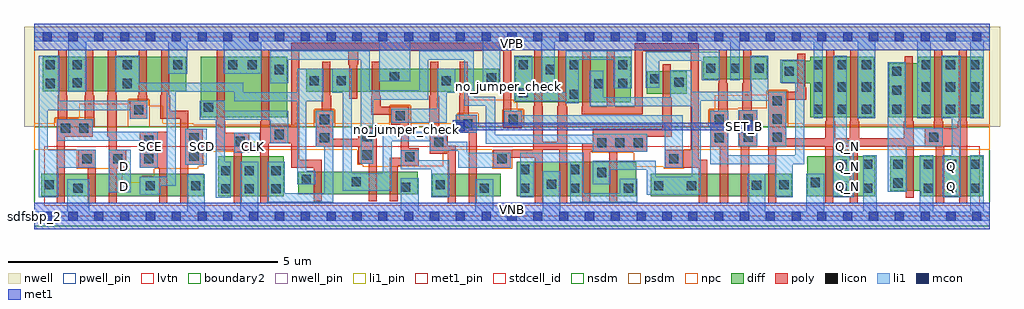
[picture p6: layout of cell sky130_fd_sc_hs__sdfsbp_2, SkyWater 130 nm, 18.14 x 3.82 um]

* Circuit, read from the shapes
.subckt sky130_fd_sc_hs__sdfsbp_2 CLK D Q Q_N SCD SCE SET_B VGND VNB VPB VPWR
XM1 VGND SCE n1 VNB sky130_fd_pr__nfet_01v8_lvt w=0.42 l=0.15
XM2 n2 n1 VGND VNB sky130_fd_pr__nfet_01v8_lvt w=0.42 l=0.15
XM3 n3 D n2 VNB sky130_fd_pr__nfet_01v8_lvt w=0.42 l=0.15
XM4 n4 SCE n3 VNB sky130_fd_pr__nfet_01v8_lvt w=0.42 l=0.15
XM5 VGND SCD n4 VNB sky130_fd_pr__nfet_01v8_lvt w=0.42 l=0.15
XM6 VGND CLK n5 VNB sky130_fd_pr__nfet_01v8_lvt w=0.74 l=0.15
XM7 n6 n5 VGND VNB sky130_fd_pr__nfet_01v8_lvt w=0.74 l=0.15
XM8 n7 n5 n3 VNB sky130_fd_pr__nfet_01v8_lvt w=0.42 l=0.15
XM9 n8 n6 n7 VNB sky130_fd_pr__nfet_01v8_lvt w=0.42 l=0.15
XM10 VGND n9 n8 VNB sky130_fd_pr__nfet_01v8_lvt w=0.42 l=0.15
XM11 n10 n7 n9 VNB sky130_fd_pr__nfet_01v8_lvt w=0.42 l=0.15
XM12 VGND SET_B n10 VNB sky130_fd_pr__nfet_01v8_lvt w=0.42 l=0.15
XM13 VGND n7 n11 VNB sky130_fd_pr__nfet_01v8_lvt w=0.64 l=0.15 m=2
XM14 n12 n6 n11 VNB sky130_fd_pr__nfet_01v8_lvt w=0.64 l=0.15 m=2
XM15 n13 n5 n12 VNB sky130_fd_pr__nfet_01v8_lvt w=0.42 l=0.15
XM16 n14 n15 n13 VNB sky130_fd_pr__nfet_01v8_lvt w=0.42 l=0.15
XM17 VGND SET_B n14 VNB sky130_fd_pr__nfet_01v8_lvt w=0.42 l=0.15
XM18 n15 n12 VGND VNB sky130_fd_pr__nfet_01v8_lvt w=0.42 l=0.15
XM19 Q_N n12 VGND VNB sky130_fd_pr__nfet_01v8_lvt w=0.74 l=0.15 m=2
XM20 VGND n12 n16 VNB sky130_fd_pr__nfet_01v8_lvt w=0.64 l=0.15
XM21 Q n16 VGND VNB sky130_fd_pr__nfet_01v8_lvt w=0.74 l=0.15 m=2
XM22 VPWR SCE n1 VPB sky130_fd_pr__pfet_01v8 w=0.64 l=0.15
XM23 n17 SCE VPWR VPB sky130_fd_pr__pfet_01v8 w=0.64 l=0.15
XM24 n3 D n17 VPB sky130_fd_pr__pfet_01v8 w=0.64 l=0.15
XM25 n18 n1 n3 VPB sky130_fd_pr__pfet_01v8 w=0.64 l=0.15
XM26 VPWR SCD n18 VPB sky130_fd_pr__pfet_01v8 w=0.64 l=0.15
XM27 VPWR CLK n5 VPB sky130_fd_pr__pfet_01v8 w=1.12 l=0.15
XM28 n6 n5 VPWR VPB sky130_fd_pr__pfet_01v8 w=1.12 l=0.15
XM29 n7 n6 n3 VPB sky130_fd_pr__pfet_01v8 w=0.42 l=0.15
XM30 n19 n5 n7 VPB sky130_fd_pr__pfet_01v8 w=0.42 l=0.15
XM31 VPWR n9 n19 VPB sky130_fd_pr__pfet_01v8 w=0.42 l=0.15
XM32 n9 n7 VPWR VPB sky130_fd_pr__pfet_01v8 w=0.42 l=0.15
XM33 VPWR SET_B n9 VPB sky130_fd_pr__pfet_01v8 w=0.42 l=0.15
XM34 VPWR n7 n20 VPB sky130_fd_pr__pfet_01v8 w=0.84 l=0.15 m=2
XM35 n12 n5 n20 VPB sky130_fd_pr__pfet_01v8 w=0.84 l=0.15 m=2
XM36 n12 n6 n21 VPB sky130_fd_pr__pfet_01v8 w=0.42 l=0.15
XM37 VPWR n15 n21 VPB sky130_fd_pr__pfet_01v8 w=0.42 l=0.15
XM38 n12 SET_B VPWR VPB sky130_fd_pr__pfet_01v8 w=0.42 l=0.15
XM39 VPWR n12 n15 VPB sky130_fd_pr__pfet_01v8 w=0.42 l=0.15
XM40 Q_N n12 VPWR VPB sky130_fd_pr__pfet_01v8 w=1.12 l=0.15 m=2
XM41 VPWR n12 n16 VPB sky130_fd_pr__pfet_01v8 w=1 l=0.15
XM42 Q n16 VPWR VPB sky130_fd_pr__pfet_01v8 w=1.12 l=0.15 m=2
.ends

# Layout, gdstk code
import gdstk
lib = gdstk.Library(unit=1e-6, precision=1e-09)
def R(c, l, rs):  # rectangles x0, y0, x1, y1
    for r in rs: c.add(gdstk.rectangle(r[:2], r[2:], *l))
def A(c, l, x, y, w, h, nx, ny, dx, dy):  # array of equal rectangles
    R(c, l, [(x+i*dx, y+j*dy, x+i*dx+w, y+j*dy+h) for i in range(nx) for j in range(ny)])
def P(c, l, *ps):  # polygons
    for p in ps: c.add(gdstk.Polygon(p, *l))
nwell_pin = (64, 16)
nwell = (64, 20)
diff = (65, 20)
poly = (66, 20)
licon = (66, 44)
li1_pin = (67, 16)
li1 = (67, 20)
mcon = (67, 44)
met1_pin = (68, 16)
met1 = (68, 20)
stdcell_id = (81, 4)
nsdm = (93, 44)
psdm = (94, 20)
npc = (95, 20)
pwell_pin = (122, 16)
lvtn = (125, 44)
boundary2 = (236, 0)

sky130_fd_sc_hs__sdfsbp_ = lib.new_cell('sky130_fd_sc_hs__sdfsbp_2')
R(sky130_fd_sc_hs__sdfsbp_, nwell_pin, [(0,3.085,17.76,3.33)])
R(sky130_fd_sc_hs__sdfsbp_, nwell, [(-0.19,1.66,17.95,3.52)])
R(sky130_fd_sc_hs__sdfsbp_, diff, [(0.135,0.37,3.15,0.79), (3.42,0.37,4.64,1.11), (7.4,0.37,8.675,0.79), (8.97,0.37,11.19,1.01), (11.46,0.37,14.08,0.79), (14.37,0.37,15.635,1.11), (4.91,0.405,7.13,0.825), (3.095,1.84,4.7,2.96), (8.945,2.12,11.085,2.96), (11.385,2.275,12.13,2.695), (5.06,2.315,8.645,2.735), (0.155,2.32,2.825,2.96), (12.43,2.54,13.62,2.96)])
P(sky130_fd_sc_hs__sdfsbp_, diff, [(15.615,2.96),(14.425,2.96),(14.425,2.89),(13.89,2.89),(13.89,2.47),(14.425,2.47),(14.425,1.84),(15.615,1.84)],
  [(17.625,2.96),(16.435,2.96),(16.435,2.84),(15.885,2.84),(15.885,1.84),(17.625,1.84)],
  [(17.625,1.11),(15.91,1.11),(15.91,0.47),(16.475,0.47),(16.475,0.37),(17.625,0.37)])
P(sky130_fd_sc_hs__sdfsbp_, poly, [(17.345,1.765),(17.33,1.765),(17.33,3.09),(17.18,3.09),(17.18,1.765),(17.165,1.765),(17.165,1.63),(16.895,1.63),(16.895,1.765),(16.88,1.765),(16.88,3.09),(16.73,3.09),(16.73,1.765),(16.715,1.765),(16.715,1.63),(16.555,1.63),(16.555,1.3),(16.76,1.3),(16.76,0.24),(16.91,0.24),(16.91,1.3),(17.19,1.3),(17.19,0.24),(17.34,0.24),(17.34,1.45),(17.345,1.45)],
  [(16.345,1.765),(16.33,1.765),(16.33,2.97),(16.18,2.97),(16.18,1.765),(16.165,1.765),(16.165,1.45),(15.335,1.45),(15.335,1.765),(15.32,1.765),(15.32,3.09),(15.17,3.09),(15.17,1.765),(15.155,1.765),(15.155,1.45),(14.885,1.45),(14.885,1.765),(14.87,1.765),(14.87,3.09),(14.72,3.09),(14.72,1.765),(14.705,1.765),(14.705,1.45),(13.975,1.45),(13.975,2.16),(14.35,2.16),(14.35,2.395),(14.335,2.395),(14.335,3.02),(14.185,3.02),(14.185,2.395),(14.17,2.395),(14.17,2.31),(13.645,2.31),(13.645,0.24),(13.795,0.24),(13.795,1.3),(14.705,1.3),(14.705,0.24),(14.855,0.24),(14.855,1.3),(15.155,1.3),(15.155,0.24),(15.305,0.24),(15.305,1.3),(16.195,1.3),(16.195,0.34),(16.345,0.34)],
  [(13.435,1.97),(13.34,1.97),(13.34,2.465),(13.325,2.465),(13.325,3.09),(13.175,3.09),(13.175,2.465),(13.16,2.465),(13.16,1.97),(13.105,1.97),(13.105,1.3),(13.135,1.3),(13.135,0.24),(13.285,0.24),(13.285,1.3),(13.435,1.3)],
  [(12.895,1.96),(12.89,1.96),(12.89,2.465),(12.875,2.465),(12.875,3.09),(12.725,3.09),(12.725,2.465),(12.71,2.465),(12.71,1.96),(12.565,1.96),(12.565,1.29),(12.745,1.29),(12.745,0.24),(12.895,0.24)],
  [(12.505,1.05),(12.355,1.05),(12.355,3.215),(11.16,3.215),(11.16,2.045),(10.79,2.045),(10.79,3.09),(10.64,3.09),(10.64,2.045),(10.34,2.045),(10.34,3.09),(10.19,3.09),(10.19,2.045),(10.175,2.045),(10.175,1.895),(11.31,1.895),(11.31,3.065),(12.205,3.065),(12.205,1.23),(11.72,1.23),(11.72,0.9),(12.355,0.9),(12.355,0.24),(12.505,0.24)],
  [(11.85,2.2),(11.835,2.2),(11.835,2.825),(11.685,2.825),(11.685,2.2),(11.67,2.2),(11.67,1.62),(10.38,1.62),(10.38,1.35),(10.185,1.35),(10.185,0.24),(10.335,0.24),(10.335,1.2),(10.685,1.2),(10.685,0.24),(10.835,0.24),(10.835,1.2),(11.39,1.2),(11.39,1.47),(11.85,1.47)],
  [(9.905,2.045),(9.89,2.045),(9.89,3.09),(9.74,3.09),(9.74,2.045),(9.725,2.045),(9.725,1.385),(9.455,1.385),(9.455,2.045),(9.44,2.045),(9.44,3.09),(9.29,3.09),(9.29,2.045),(9.275,2.045),(9.275,1.235),(8.53,1.235),(8.53,0.9),(8.86,0.9),(8.86,1.085),(9.305,1.085),(9.305,0.24),(9.455,0.24),(9.455,1.235),(9.755,1.235),(9.755,0.24),(9.905,0.24)],
  [(9.065,1.96),(8.87,1.96),(8.87,3.225),(4.775,3.225),(4.775,1.68),(4.385,1.68),(4.385,1.765),(4.37,1.765),(4.37,3.09),(4.22,3.09),(4.22,1.765),(4.205,1.765),(4.205,0.24),(4.355,0.24),(4.355,1.35),(4.775,1.35),(4.775,0.9),(5.195,0.9),(5.195,0.275),(5.345,0.275),(5.345,1.05),(4.925,1.05),(4.925,3.075),(5.84,3.075),(5.84,2.81),(5.855,2.81),(5.855,2.185),(6.005,2.185),(6.005,2.81),(6.02,2.81),(6.02,3.075),(8.72,3.075),(8.72,1.63),(9.065,1.63)],
  [(8.225,1.88),(8.075,1.88),(8.075,2.24),(8.06,2.24),(8.06,2.865),(7.91,2.865),(7.91,2.24),(7.895,2.24),(7.895,1.55),(8.075,1.55),(8.075,0.24),(8.225,0.24)],
  [(7.835,1.31),(7.685,1.31),(7.685,1.54),(7.525,1.54),(7.525,2.24),(7.51,2.24),(7.51,2.865),(7.36,2.865),(7.36,2.24),(7.345,2.24),(7.345,1.55),(7.355,1.55),(7.355,1.16),(7.685,1.16),(7.685,0.24),(7.835,0.24)],
  [(7.145,1.265),(6.965,1.265),(6.965,2.03),(6.44,2.03),(6.44,2.24),(6.425,2.24),(6.425,2.865),(6.275,2.865),(6.275,2.24),(6.26,2.24),(6.26,1.88),(6.635,1.88),(6.635,1.7),(6.815,1.7),(6.815,1.085),(6.61,1.085),(6.61,0.275),(6.76,0.275),(6.76,0.935),(7.145,0.935)],
  [(6.37,1.64),(6.02,1.64),(6.02,1.44),(5.56,1.44),(5.56,1.96),(5.52,1.96),(5.52,2.24),(5.505,2.24),(5.505,2.865),(5.355,2.865),(5.355,2.24),(5.34,2.24),(5.34,1.96),(5.23,1.96),(5.23,1.29),(6.02,1.29),(6.02,0.97),(6.22,0.97),(6.22,0.275),(6.37,0.275)],
  [(3.995,1.55),(3.555,1.55),(3.555,1.765),(3.54,1.765),(3.54,3.09),(3.39,3.09),(3.39,1.765),(3.375,1.765),(3.375,1.22),(3.705,1.22),(3.705,0.24),(3.855,0.24),(3.855,1.22),(3.995,1.22)],
  [(3.135,1.62),(2.865,1.62),(2.865,1.96),(2.525,1.96),(2.525,2.245),(2.51,2.245),(2.51,3.09),(2.36,3.09),(2.36,2.245),(2.345,2.245),(2.345,1.81),(2.715,1.81),(2.715,0.24),(2.865,0.24),(2.865,0.95),(3.135,0.95)],
  [(2.475,1.57),(1.965,1.57),(1.965,0.9),(2.325,0.9),(2.325,0.24),(2.475,0.24)],
  [(2.105,2.245),(2.09,2.245),(2.09,3.09),(1.94,3.09),(1.94,2.245),(1.925,2.245),(1.925,2.14),(1.775,2.14),(1.775,1.81),(2.105,1.81)],
  [(1.715,1.23),(1.535,1.23),(1.535,2.245),(1.52,2.245),(1.52,3.09),(1.37,3.09),(1.37,2.245),(1.355,2.245),(1.355,1.47),(1.385,1.47),(1.385,0.24),(1.535,0.24),(1.535,0.9),(1.715,0.9)],
  [(1.145,1.23),(0.815,1.23),(0.815,0.9),(0.995,0.9),(0.995,0.24),(1.145,0.24)],
  [(1.115,2.245),(1.1,2.245),(1.1,3.09),(0.95,3.09),(0.95,2.245),(0.935,2.245),(0.935,1.8),(0.615,1.8),(0.615,2.245),(0.6,2.245),(0.6,3.09),(0.45,3.09),(0.45,2.245),(0.435,2.245),(0.435,1.8),(0.415,1.8),(0.415,1.47),(0.42,1.47),(0.42,0.24),(0.57,0.24),(0.57,1.47),(1.085,1.47),(1.085,1.65),(1.115,1.65)])
A(sky130_fd_sc_hs__sdfsbp_, licon, 16.535, 0.43, 0.17, 0.17, 3, 1, 0.43, 0)
A(sky130_fd_sc_hs__sdfsbp_, licon, 15.405, 0.88, 0.17, 0.17, 3, 1, 0.565, 0)
A(sky130_fd_sc_hs__sdfsbp_, licon, 10.46, 1.28, 0.17, 0.17, 3, 1, 0.34, 0)
A(sky130_fd_sc_hs__sdfsbp_, licon, 13.725, 1.38, 0.17, 0.17, 1, 3, 0, 0.34)
A(sky130_fd_sc_hs__sdfsbp_, licon, 14.485, 1.9, 0.17, 0.17, 3, 3, 0.45, 0.415)
A(sky130_fd_sc_hs__sdfsbp_, licon, 15.945, 1.9, 0.17, 0.17, 1, 3, 0, 0.355)
A(sky130_fd_sc_hs__sdfsbp_, licon, 16.495, 1.9, 0.17, 0.17, 3, 3, 0.45, 0.415)
A(sky130_fd_sc_hs__sdfsbp_, licon, 12.49, 2.665, 0.17, 0.17, 3, 1, 0.45, 0)
R(sky130_fd_sc_hs__sdfsbp_, licon, [(3.48,0.42,3.65,0.59), (3.91,0.42,4.08,0.59), (4.41,0.42,4.58,0.59), (0.73,0.43,0.9,0.6), (8.28,0.43,8.45,0.6), (9.03,0.43,9.2,0.6), (9.96,0.43,10.13,0.6), (14.93,0.43,15.1,0.6), (15.405,0.43,15.575,0.6), (10.96,0.435,11.13,0.605), (6.815,0.45,6.985,0.62), (2.07,0.48,2.24,0.65), (2.92,0.48,3.09,0.65), (11.52,0.48,11.69,0.65), (12.13,0.48,12.3,0.65), (13.34,0.485,13.51,0.655), (0.195,0.495,0.365,0.665), (7.46,0.495,7.63,0.665), (13.85,0.495,14.02,0.665), (9.53,0.505,9.7,0.675), (15.97,0.53,16.14,0.7), (14.43,0.54,14.6,0.71), (5.9,0.55,6.07,0.72), (4.97,0.595,5.14,0.765), (10.46,0.725,10.63,0.895), (3.48,0.76,3.65,0.93), (3.91,0.76,4.08,0.93), (4.41,0.76,4.58,0.93), (9.03,0.78,9.2,0.95), (9.96,0.78,10.13,0.95), (14.93,0.88,15.1,1.05), (16.965,0.88,17.135,1.05), (17.395,0.88,17.565,1.05), (0.895,0.98,1.065,1.15), (1.465,0.98,1.635,1.15), (2.045,0.98,2.215,1.15), (8.61,0.98,8.78,1.15), (11.8,0.98,11.97,1.15), (6.895,1.015,7.065,1.185), (2.885,1.03,3.055,1.2), (6.1,1.05,6.27,1.22), (7.435,1.29,7.605,1.46), (3.745,1.3,3.915,1.47), (2.045,1.32,2.215,1.49), (2.885,1.37,3.055,1.54), (5.31,1.37,5.48,1.54), (12.645,1.37,12.815,1.54), (13.185,1.38,13.355,1.55), (16.635,1.38,16.805,1.55), (6.1,1.39,6.27,1.56), (4.47,1.43,4.64,1.6), (0.495,1.55,0.665,1.72), (0.835,1.55,1.005,1.72), (7.975,1.63,8.145,1.8), (5.31,1.71,5.48,1.88), (8.815,1.71,8.985,1.88), (12.645,1.71,12.815,1.88), (13.185,1.72,13.355,1.89), (6.715,1.78,6.885,1.95), (1.855,1.89,2.025,2.06), (3.155,1.935,3.325,2.105), (9.955,2.18,10.125,2.35), (9.005,2.21,9.175,2.38), (10.405,2.375,10.575,2.545), (0.215,2.38,0.385,2.55), (1.645,2.38,1.815,2.55), (10.855,2.38,11.025,2.55), (0.715,2.39,0.885,2.56), (11.9,2.4,12.07,2.57), (5.12,2.43,5.29,2.6), (5.62,2.43,5.79,2.6), (7.575,2.43,7.745,2.6), (11.445,2.465,11.615,2.635), (8.415,2.485,8.585,2.655), (6.61,2.505,6.78,2.675), (13.95,2.61,14.12,2.78), (4.47,2.64,4.64,2.81), (9.505,2.64,9.675,2.81), (0.215,2.73,0.385,2.9), (0.715,2.73,0.885,2.9), (1.645,2.73,1.815,2.9), (2.585,2.73,2.755,2.9), (3.605,2.73,3.775,2.9), (3.97,2.73,4.14,2.9), (9.005,2.73,9.175,2.9), (9.955,2.73,10.125,2.9), (10.855,2.73,11.025,2.9)])
A(sky130_fd_sc_hs__sdfsbp_, li1_pin, 15.035, 0.47, 0.17, 0.17, 1, 3, 0, 0.37)
A(sky130_fd_sc_hs__sdfsbp_, li1_pin, 2.075, 1.21, 0.17, 0.17, 3, 1, 0.96, 0)
R(sky130_fd_sc_hs__sdfsbp_, li1_pin, [(1.595,0.47,1.765,0.64), (16.955,0.47,17.125,0.64), (1.595,0.84,1.765,1.01), (16.955,0.84,17.125,1.01)])
R(sky130_fd_sc_hs__sdfsbp_, li1, [(1.385,0.44,1.795,1.23), (2.805,0.95,3.205,1.62), (3.715,1.18,4.195,1.55), (13.085,1.3,13.435,1.97), (7.835,1.55,8.225,1.88)])
P(sky130_fd_sc_hs__sdfsbp_, li1, [(0,3.245),(0,3.415),(17.76,3.415),(17.76,3.245),(17.645,3.245),(17.645,1.82),(17.395,1.82),(17.395,3.245),(16.665,3.245),(16.665,1.82),(16.415,1.82),(16.415,3.245),(15.635,3.245),(15.635,1.82),(15.305,1.82),(15.305,3.245),(14.655,3.245),(14.655,1.82),(14.485,1.82),(14.485,3.245),(13.11,3.245),(13.11,2.52),(12.94,2.52),(12.94,3.245),(9.675,3.245),(9.675,2.47),(9.425,2.47),(9.425,3.245),(8.665,3.245),(8.665,2.39),(8.335,2.39),(8.335,3.245),(6.985,3.245),(6.985,2.505),(6.41,2.505),(6.41,3.245),(4.22,3.245),(4.22,2.65),(3.525,2.65),(3.525,3.245),(2.845,3.245),(2.845,2.65),(2.495,2.65),(2.495,3.245),(0.965,3.245),(0.965,2.31),(0.635,2.31),(0.635,3.245)],
  [(0,-0.085),(0,0.085),(0.615,0.085),(0.615,0.68),(1.02,0.68),(1.02,0.085),(2.84,0.085),(2.84,0.78),(3.17,0.78),(3.17,0.085),(3.83,0.085),(3.83,1.01),(4.16,1.01),(4.16,0.085),(6.815,0.085),(6.815,0.7),(7.15,0.7),(7.15,0.085),(8.2,0.085),(8.2,0.68),(8.53,0.68),(8.53,0.085),(9.45,0.085),(9.45,0.835),(9.78,0.835),(9.78,0.085),(13.26,0.085),(13.26,0.79),(13.59,0.79),(13.59,0.085),(14.35,0.085),(14.35,0.79),(14.68,0.79),(14.68,0.085),(15.405,0.085),(15.405,1.13),(15.655,1.13),(15.655,0.085),(16.455,0.085),(16.455,1.13),(16.705,1.13),(16.705,0.085),(17.395,0.085),(17.395,1.13),(17.645,1.13),(17.645,0.085),(17.76,0.085),(17.76,-0.085)],
  [(14.85,0.35),(14.85,2.98),(15.105,2.98),(15.105,1.41),(15.235,1.41),(15.235,0.35)],
  [(16.885,0.35),(16.885,1.13),(17.055,1.13),(17.055,1.82),(16.865,1.82),(16.865,2.98),(17.225,2.98),(17.225,0.35)],
  [(0.085,0.35),(0.085,2.98),(0.465,2.98),(0.465,2.14),(2.105,2.14),(2.105,1.81),(1.775,1.81),(1.775,1.97),(0.255,1.97),(0.255,1.23),(1.145,1.23),(1.145,0.9),(0.445,0.9),(0.445,0.35)],
  [(1.085,1.57),(2.295,1.57),(2.295,0.9),(1.965,0.9),(1.965,1.4),(0.425,1.4),(0.425,1.8),(1.085,1.8)],
  [(16.195,1.63),(16.885,1.63),(16.885,1.3),(16.22,1.3),(16.22,0.45),(15.865,0.45),(15.865,2.86),(16.195,2.86)],
  [(14.145,1.13),(14.145,2.48),(13.87,2.48),(13.87,2.91),(14.315,2.91),(14.315,0.96),(14.1,0.96),(14.1,0.35),(13.77,0.35),(13.77,0.96),(12.565,0.96),(12.565,1.96),(12.895,1.96),(12.895,1.13)],
  [(13.31,2.31),(13.31,2.98),(13.64,2.98),(13.64,2.31),(13.975,2.31),(13.975,1.3),(13.645,1.3),(13.645,2.14),(12.39,2.14),(12.39,0.4),(11.38,0.4),(11.38,0.86),(10.71,0.86),(10.71,0.595),(10.38,0.595),(10.38,1.03),(11.55,1.03),(11.55,0.73),(12.22,0.73),(12.22,2.04),(10.325,2.04),(10.325,2.7),(10.575,2.7),(10.575,2.21),(11.82,2.21),(11.82,2.715),(12.22,2.715),(12.22,2.31)],
  [(12.41,2.885),(11.62,2.885),(11.62,2.385),(11.365,2.385),(11.365,3.055),(12.74,3.055),(12.74,2.52),(12.41,2.52)],
  [(10.775,2.905),(10.125,2.905),(10.125,2.1),(9.875,2.1),(9.875,2.13),(8.925,2.13),(8.925,2.98),(9.255,2.98),(9.255,2.3),(9.875,2.3),(9.875,3.075),(11.105,3.075),(11.105,2.38),(10.775,2.38)],
  [(5.9,0.8),(6.475,0.8),(6.475,1.565),(7.665,1.565),(7.665,1.38),(8.05,1.38),(8.05,1.175),(8.86,1.175),(8.86,0.9),(7.88,0.9),(7.88,1.21),(7.355,1.21),(7.355,1.395),(6.645,1.395),(6.645,0.47),(5.73,0.47),(5.73,2.295),(5.54,2.295),(5.54,2.735),(5.9,2.735)],
  [(1.955,2.48),(3.885,2.48),(3.885,2.3),(4.89,2.3),(4.89,2.735),(5.37,2.735),(5.37,2.13),(5.06,2.13),(5.06,0.845),(5.22,0.845),(5.22,0.595),(4.89,0.595),(4.89,2.13),(3.715,2.13),(3.715,2.31),(2.635,2.31),(2.635,0.56),(2.35,0.56),(2.35,0.4),(1.965,0.4),(1.965,0.73),(2.465,0.73),(2.465,2.31),(1.505,2.31),(1.505,2.98),(1.955,2.98)],
  [(10.21,0.425),(10.88,0.425),(10.88,0.69),(11.21,0.69),(11.21,0.255),(9.96,0.255),(9.96,1.005),(9.28,1.005),(9.28,0.35),(9.03,0.35),(9.03,1.175),(10.21,1.175)],
  [(4.66,0.425),(5.39,0.425),(5.39,1.29),(5.23,1.29),(5.23,1.96),(5.56,1.96),(5.56,0.255),(4.33,0.255),(4.33,1.01),(4.66,1.01)],
  [(6.24,2.335),(7.155,2.335),(7.155,3.075),(8.165,3.075),(8.165,2.22),(8.565,2.22),(8.565,1.515),(10.38,1.515),(10.38,1.53),(11.39,1.53),(11.39,1.2),(10.38,1.2),(10.38,1.345),(8.395,1.345),(8.395,2.05),(7.995,2.05),(7.995,2.905),(7.325,2.905),(7.325,2.165),(6.305,2.165),(6.305,0.97),(6.07,0.97),(6.07,2.905),(4.72,2.905),(4.72,2.47),(4.39,2.47),(4.39,3.075),(6.24,3.075)],
  [(3.545,1.96),(4.72,1.96),(4.72,1.35),(4.39,1.35),(4.39,1.79),(3.545,1.79),(3.545,1.01),(3.65,1.01),(3.65,0.34),(3.375,0.34),(3.375,1.79),(3.075,1.79),(3.075,2.14),(3.545,2.14)],
  [(9.065,1.87),(12.05,1.87),(12.05,0.9),(11.72,0.9),(11.72,1.7),(9.065,1.7),(9.065,1.685),(8.735,1.685),(8.735,1.96),(9.065,1.96)],
  [(6.635,1.735),(6.635,1.995),(7.495,1.995),(7.495,2.735),(7.825,2.735),(7.825,2.295),(7.665,2.295),(7.665,1.735)],
  [(7.38,0.35),(7.38,0.87),(6.815,0.87),(6.815,1.225),(7.145,1.225),(7.145,1.04),(7.71,1.04),(7.71,0.35)])
A(sky130_fd_sc_hs__sdfsbp_, mcon, 0.155, -0.085, 0.17, 0.17, 37, 2, 0.48, 3.33)
R(sky130_fd_sc_hs__sdfsbp_, mcon, [(7.835,1.58,8.005,1.75), (13.115,1.58,13.285,1.75)])
R(sky130_fd_sc_hs__sdfsbp_, met1_pin, [(0,0,17.76,0.245), (13.115,1.58,13.285,1.75), (0,3.085,17.76,3.33)])
R(sky130_fd_sc_hs__sdfsbp_, met1, [(0,-0.245,17.76,0.245), (0,3.085,17.76,3.575)])
P(sky130_fd_sc_hs__sdfsbp_, met1, [(8.065,1.735),(13.055,1.735),(13.055,1.78),(13.345,1.78),(13.345,1.55),(13.055,1.55),(13.055,1.595),(8.065,1.595),(8.065,1.55),(7.775,1.55),(7.775,1.78),(8.065,1.78)])
R(sky130_fd_sc_hs__sdfsbp_, stdcell_id, [(0,0,17.76,3.33)])
R(sky130_fd_sc_hs__sdfsbp_, nsdm, [(0,-0.19,17.76,1.66)])
P(sky130_fd_sc_hs__sdfsbp_, psdm, [(17.76,3.52),(0,3.52),(0,1.66),(0.385,1.66),(0.385,1.83),(1.115,1.83),(1.115,1.66),(1.745,1.66),(1.745,2.17),(2.135,2.17),(2.135,1.66),(4.36,1.66),(4.36,1.71),(4.75,1.71),(4.75,1.66),(5.2,1.66),(5.2,1.99),(5.59,1.99),(5.59,1.66),(5.99,1.66),(5.99,1.67),(6.605,1.67),(6.605,2.06),(6.995,2.06),(6.995,1.66),(7.865,1.66),(7.865,1.91),(8.255,1.91),(8.255,1.66),(8.705,1.66),(8.705,1.99),(9.095,1.99),(9.095,1.66),(12.535,1.66),(12.535,1.99),(13.075,1.99),(13.075,2),(13.615,2),(13.615,2.34),(14.005,2.34),(14.005,1.66),(17.76,1.66)])
P(sky130_fd_sc_hs__sdfsbp_, npc, [(17.76,1.7),(14.285,1.7),(14.285,1.73),(13.995,1.73),(13.995,2.33),(13.625,2.33),(13.625,2.255),(13.19,2.255),(13.19,2.245),(12.65,2.245),(12.65,1.98),(12.545,1.98),(12.545,1.73),(9.085,1.73),(9.085,1.98),(8.98,1.98),(8.98,2.12),(8.915,2.12),(8.915,2.165),(7.98,2.165),(7.98,1.9),(7.875,1.9),(7.875,1.73),(6.985,1.73),(6.985,2.05),(6.615,2.05),(6.615,1.73),(5.58,1.73),(5.58,1.98),(5.21,1.98),(5.21,1.73),(4.84,1.73),(4.84,1.7),(2.955,1.7),(2.955,1.73),(2.39,1.73),(2.39,2.055),(2.125,2.055),(2.125,2.16),(1.755,2.16),(1.755,2.085),(0.84,2.085),(0.84,1.82),(0.395,1.82),(0.395,1.73),(0,1.73),(0,1.23),(0.795,1.23),(0.795,0.88),(1.625,0.88),(1.625,0.615),(1.98,0.615),(1.98,0.74),(2.235,0.74),(2.235,0.88),(3.05,0.88),(3.05,0.93),(3.155,0.93),(3.155,1.2),(4.015,1.2),(4.015,1.23),(6,1.23),(6,0.95),(6.105,0.95),(6.105,0.915),(7.165,0.915),(7.165,0.925),(7.6,0.925),(7.6,1.19),(7.705,1.19),(7.705,1.23),(8.51,1.23),(8.51,0.88),(8.88,0.88),(8.88,1.23),(10.36,1.23),(10.36,1.18),(11.145,1.18),(11.145,0.915),(11.7,0.915),(11.7,0.88),(12.07,0.88),(12.07,1.23),(17.76,1.23)])
R(sky130_fd_sc_hs__sdfsbp_, pwell_pin, [(0,0,17.76,0.245)])
R(sky130_fd_sc_hs__sdfsbp_, lvtn, [(0.19,0.19,17.57,1.3)])
R(sky130_fd_sc_hs__sdfsbp_, boundary2, [(0,0,17.76,3.33)])
sky130_fd_sc_hs__sdfsbp_.add(gdstk.Label('sdfsbp_2', (0,0), layer=83, texttype=44))
sky130_fd_sc_hs__sdfsbp_.add(gdstk.Label('no_jumper_check', (8.82,2.405), layer=83, texttype=44))
sky130_fd_sc_hs__sdfsbp_.add(gdstk.Label('no_jumper_check', (6.91,1.615), layer=83, texttype=44))
sky130_fd_sc_hs__sdfsbp_.add(gdstk.Label('no_jumper_check', (5.63,1.38), layer=83, texttype=44))
sky130_fd_sc_hs__sdfsbp_.add(gdstk.Label('VNB', (8.88,0.123), layer=64, texttype=59))
sky130_fd_sc_hs__sdfsbp_.add(gdstk.Label('VPB', (8.88,3.208), layer=64, texttype=5))
sky130_fd_sc_hs__sdfsbp_.add(gdstk.Label('SET_B', (13.2,1.665), layer=68, texttype=5))
sky130_fd_sc_hs__sdfsbp_.add(gdstk.Label('VPWR', (8.88,3.208), layer=68, texttype=5))
sky130_fd_sc_hs__sdfsbp_.add(gdstk.Label('VGND', (8.88,0.123), layer=68, texttype=5))
sky130_fd_sc_hs__sdfsbp_.add(gdstk.Label('SCD', (3.12,1.295), layer=67, texttype=5))
sky130_fd_sc_hs__sdfsbp_.add(gdstk.Label('Q_N', (15.12,0.555), layer=67, texttype=5))
sky130_fd_sc_hs__sdfsbp_.add(gdstk.Label('Q_N', (15.12,0.925), layer=67, texttype=5))
sky130_fd_sc_hs__sdfsbp_.add(gdstk.Label('Q_N', (15.12,1.295), layer=67, texttype=5))
sky130_fd_sc_hs__sdfsbp_.add(gdstk.Label('Q', (17.04,0.555), layer=67, texttype=5))
sky130_fd_sc_hs__sdfsbp_.add(gdstk.Label('Q', (17.04,0.925), layer=67, texttype=5))
sky130_fd_sc_hs__sdfsbp_.add(gdstk.Label('CLK', (4.08,1.295), layer=67, texttype=5))
sky130_fd_sc_hs__sdfsbp_.add(gdstk.Label('D', (1.68,0.555), layer=67, texttype=5))
sky130_fd_sc_hs__sdfsbp_.add(gdstk.Label('D', (1.68,0.925), layer=67, texttype=5))
sky130_fd_sc_hs__sdfsbp_.add(gdstk.Label('SCE', (2.16,1.295), layer=67, texttype=5))

lib.write_gds('sky130_fd_sc_hs__sdfsbp_2.gds')
